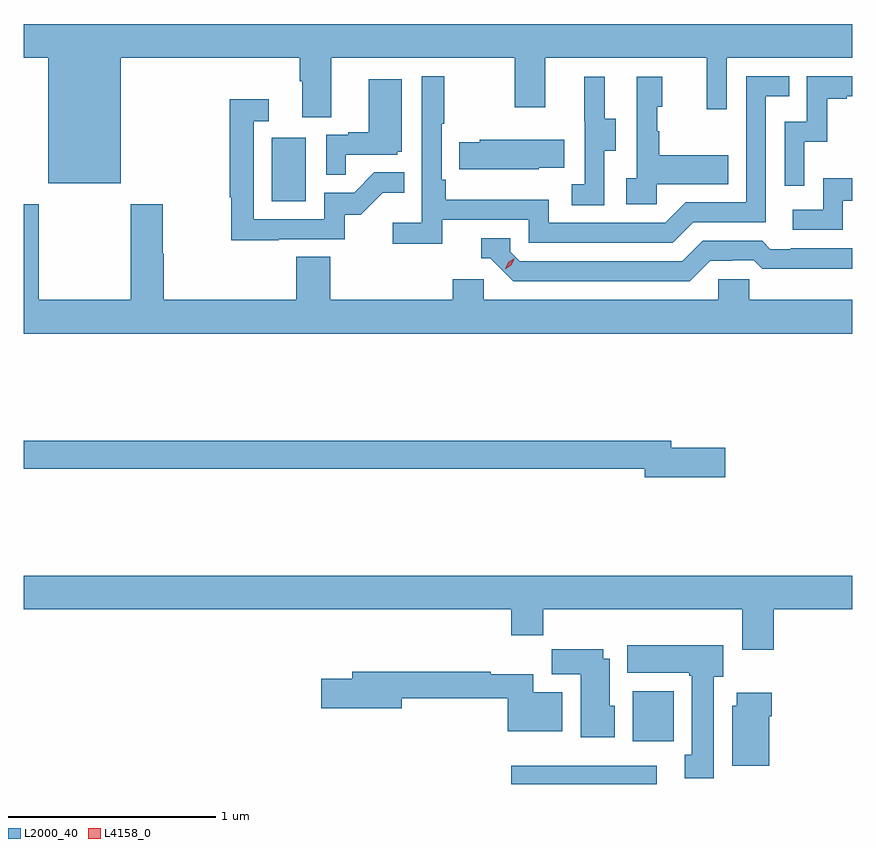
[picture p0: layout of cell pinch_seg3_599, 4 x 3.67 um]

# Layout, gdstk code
import gdstk
lib = gdstk.Library(unit=1e-6, precision=1e-09)
def R(c, l, rs):  # rectangles x0, y0, x1, y1
    for r in rs: c.add(gdstk.rectangle(r[:2], r[2:], *l))
def P(c, l, *ps):  # polygons
    for p in ps: c.add(gdstk.Polygon(p, *l))
L2000_40 = (2000, 40)
L4158_0 = (4158, 0)

pinch_seg3_599 = lib.new_cell('pinch_seg3_599')
R(pinch_seg3_599, L2000_40, [(1030.943,685.421,1031.647,685.51), (1031.531,685.628,1031.728,685.87), (1029.788,688.236,1029.952,688.543)])
P(pinch_seg3_599, L2000_40, [(1029.058,688.928),(1029.923,688.928),(1029.923,688.816),(1029.935,688.816),(1029.935,688.642),(1030.075,688.642),(1030.075,688.928),(1030.96,688.928),(1030.96,688.689),(1031.107,688.689),(1031.107,688.928),(1031.888,688.928),(1031.888,688.68),(1031.985,688.68),(1031.985,688.928),(1032.59,688.928),(1032.59,689.092),(1028.59,689.092),(1028.59,688.928),(1028.708,688.928),(1028.708,688.322),(1029.058,688.322)],
  [(1030.61,688.146),(1031.028,688.146),(1031.028,688.035),(1031.725,688.035),(1031.824,688.134),(1032.174,688.134),(1032.174,688.743),(1032.287,688.743),(1032.287,688.839),(1032.078,688.839),(1032.078,688.23),(1031.787,688.23),(1031.688,688.131),(1031.124,688.131),(1031.124,688.243),(1030.628,688.243),(1030.628,688.339),(1030.608,688.339),(1030.608,688.609),(1030.621,688.609),(1030.621,688.84),(1030.512,688.84),(1030.512,688.132),(1030.371,688.132),(1030.371,688.03),(1030.61,688.03)],
  [(1032.36,688.523),(1032.47,688.523),(1032.47,688.731),(1032.565,688.731),(1032.565,688.743),(1032.59,688.743),(1032.59,688.839),(1032.372,688.839),(1032.372,688.62),(1032.264,688.62),(1032.264,688.311),(1032.36,688.311)],
  [(1031.646,688.319),(1031.993,688.319),(1031.993,688.459),(1031.659,688.459),(1031.659,688.574),(1031.649,688.574),(1031.649,688.692),(1031.674,688.692),(1031.674,688.837),(1031.55,688.837),(1031.55,688.346),(1031.499,688.346),(1031.499,688.221),(1031.646,688.221)],
  [(1031.394,688.48),(1031.449,688.48),(1031.449,688.635),(1031.395,688.635),(1031.395,688.837),(1031.297,688.837),(1031.297,688.623),(1031.298,688.623),(1031.298,688.319),(1031.235,688.319),(1031.235,688.216),(1031.394,688.216)],
  [(1030.145,688.461),(1030.392,688.461),(1030.392,688.476),(1030.414,688.476),(1030.414,688.825),(1030.256,688.825),(1030.256,688.57),(1030.157,688.57),(1030.157,688.557),(1030.05,688.557),(1030.05,688.363),(1030.145,688.363)],
  [(1029.821,688.053),(1030.14,688.053),(1030.14,688.17),(1030.216,688.17),(1030.323,688.277),(1030.427,688.277),(1030.427,688.376),(1030.283,688.376),(1030.185,688.278),(1030.041,688.278),(1030.041,688.149),(1029.699,688.149),(1029.699,688.623),(1029.772,688.623),(1029.772,688.729),(1029.583,688.729),(1029.583,688.256),(1029.591,688.256),(1029.591,688.048),(1029.821,688.048)],
  [(1031.076,688.397),(1031.201,688.397),(1031.201,688.534),(1030.791,688.534),(1030.791,688.521),(1030.693,688.521),(1030.693,688.391),(1031.076,688.391)],
  [(1032.546,688.239),(1032.59,688.239),(1032.59,688.348),(1032.45,688.348),(1032.45,688.194),(1032.303,688.194),(1032.303,688.098),(1032.546,688.098)],
  [(1032.59,687.76),(1032.093,687.76),(1032.093,687.858),(1031.943,687.858),(1031.943,687.76),(1030.812,687.76),(1030.812,687.858),(1030.661,687.858),(1030.661,687.76),(1030.07,687.76),(1030.07,687.968),(1029.905,687.968),(1029.905,687.76),(1029.266,687.76),(1029.266,687.983),(1029.261,687.983),(1029.261,688.222),(1029.106,688.222),(1029.106,687.76),(1028.661,687.76),(1028.661,688.222),(1028.59,688.222),(1028.59,687.596),(1032.59,687.596)],
  [(1031.905,687.948),(1032.012,687.948),(1032.012,687.951),(1032.115,687.951),(1032.157,687.909),(1032.39,687.909),(1032.39,687.911),(1032.59,687.911),(1032.59,688.01),(1032.588,688.008),(1032.295,688.008),(1032.295,688.005),(1032.196,688.005),(1032.157,688.044),(1031.868,688.044),(1031.769,687.945),(1030.986,687.945),(1030.938,687.993),(1030.938,688.056),(1030.799,688.056),(1030.799,687.96),(1030.842,687.96),(1030.953,687.849),(1031.806,687.849)],
  [(1031.977,687.044),(1031.716,687.044),(1031.716,687.08),(1028.59,687.08),(1028.59,686.944),(1031.588,686.944),(1031.588,686.902),(1031.977,686.902)],
  [(1032.212,686.264),(1032.59,686.264),(1032.59,686.428),(1028.59,686.428),(1028.59,686.264),(1030.943,686.264),(1030.943,686.14),(1031.099,686.14),(1031.099,686.264),(1032.059,686.264),(1032.059,686.07),(1032.212,686.07)],
  [(1031.923,685.938),(1031.968,685.938),(1031.968,686.092),(1031.504,686.092),(1031.504,685.958),(1031.803,685.958),(1031.803,685.945),(1031.816,685.945),(1031.816,685.562),(1031.783,685.562),(1031.783,685.449),(1031.923,685.449)],
  [(1031.443,685.8),(1031.419,685.8),(1031.419,686.026),(1031.389,686.026),(1031.389,686.071),(1031.14,686.071),(1031.14,685.952),(1031.279,685.952),(1031.279,685.646),(1031.443,685.646)],
  [(1031.191,685.864),(1031.05,685.864),(1031.05,685.952),(1030.844,685.952),(1030.844,685.963),(1030.175,685.963),(1030.175,685.929),(1030.026,685.929),(1030.026,685.787),(1030.414,685.787),(1030.414,685.834),(1030.928,685.834),(1030.928,685.676),(1031.191,685.676)],
  [(1032.19,685.748),(1032.203,685.748),(1032.203,685.861),(1032.032,685.861),(1032.032,685.8),(1032.011,685.8),(1032.011,685.508),(1032.19,685.508)])
P(pinch_seg3_599, L4158_0, [(1030.914,687.907),(1030.914,687.908),(1030.93,687.94),(1030.96,687.96),(1030.961,687.96),(1030.961,687.96),(1030.945,687.927),(1030.914,687.907)])

lib.write_gds('pinch_seg3_599.gds')
